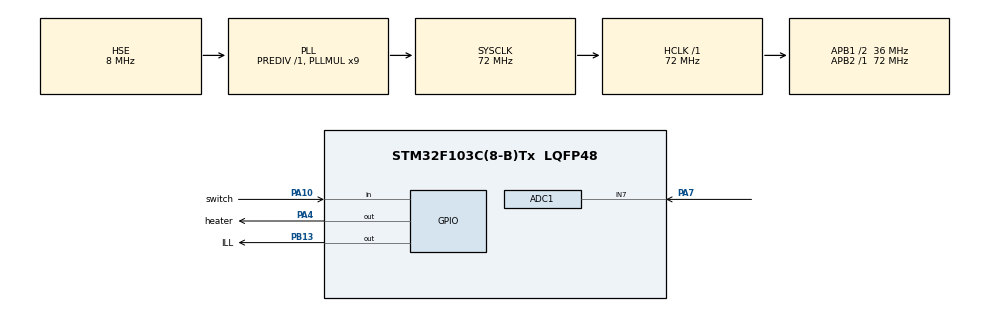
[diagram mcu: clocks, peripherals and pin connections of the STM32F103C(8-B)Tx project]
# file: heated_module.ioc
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ADC1.Channel-0\#ChannelRegularConversion=ADC_CHANNEL_7
ADC1.NbrOfConversionFlag=1
ADC1.Rank-0\#ChannelRegularConversion=1
ADC1.SamplingTime-0\#ChannelRegularConversion=ADC_SAMPLETIME_1CYCLE_5
ADC1.master=1
Mcu.Family=STM32F1
Mcu.Name=STM32F103C(8-B)Tx
Mcu.Package=LQFP48
NVIC.PriorityGroup=NVIC_PRIORITYGROUP_4
PA10.GPIO_Label=switch
PA10.Signal=GPIO_Input
PA13.Mode=Serial_Wire
PA13.Signal=SYS_JTMS-SWDIO
PA14.Mode=Serial_Wire
PA14.Signal=SYS_JTCK-SWCLK
PA4.GPIO_Label=heater
PA4.Signal=GPIO_Output
PA7.Signal=ADCx_IN7
PB13.GPIO_Label=ILL
PB13.Signal=GPIO_Output
PD0-OSC_IN.Mode=HSE-External-Oscillator
PD0-OSC_IN.Signal=RCC_OSC_IN
PD1-OSC_OUT.Mode=HSE-External-Oscillator
PD1-OSC_OUT.Signal=RCC_OSC_OUT
ProjectManager.HeapSize=0x200
ProjectManager.StackSize=0x400
ProjectManager.TargetToolchain=EWARM V8.32
RCC.ADCPresc=RCC_ADCPCLK2_DIV8
RCC.AHBFreq_Value=72000000
RCC.APB1CLKDivider=RCC_HCLK_DIV2
RCC.APB1Freq_Value=36000000
RCC.APB1TimFreq_Value=72000000
RCC.APB2Freq_Value=72000000
RCC.APB2TimFreq_Value=72000000
RCC.HCLKFreq_Value=72000000
RCC.PLLMUL=RCC_PLL_MUL9
RCC.PLLSourceVirtual=RCC_PLLSOURCE_HSE
RCC.SYSCLKFreq_VALUE=72000000
RCC.SYSCLKSource=RCC_SYSCLKSOURCE_PLLCLK
RCC.USBFreq_Value=72000000
SH.ADCx_IN7.0=ADC1_IN7,IN7
board=custom

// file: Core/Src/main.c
/* USER CODE BEGIN Header */
/**
  ******************************************************************************
  * @file           : main.c
  * @brief          : Main program body
  ******************************************************************************
  * @attention
  *
  * <h2><center>&copy; Copyright (c) 2021 STMicroelectronics.
  * All rights reserved.</center></h2>
  *
  * This software component is licensed by ST under BSD 3-Clause license,
  * the "License"; You may not use this file except in compliance with the
  * License. You may obtain a copy of the License at:
  *                        opensource.org/licenses/BSD-3-Clause
  *
  ******************************************************************************
  */
/* USER CODE END Header */
#include "main.h"
#include "adc.h"
#include "gpio.h"

/* USER CODE BEGIN Includes */
#include "math.h"
#include "ntc.h"
#include "ntcConfig.h"
/* USER CODE END Includes */

/* USER CODE BEGIN PD */
uint32_t adcResult = 0;
uint32_t Ust = 37;
uint32_t hist = 1;
uint32_t state = 0;
GPIO_PinState currentButtonState;
GPIO_PinState ill_State;

float Vsupply = 3.2; //power supply voltage (3.3 V rail) -STM32 ADC pin is NOT 5 V tolerant
float Vout; //Voltage divider output
float R_NTC; //NTC thermistor resistance in Ohms
float R_10k = 10000; //10k resistor measured resistance in Ohms (other element in the voltage divider)
float B_param = 7000; //B-coefficient of the thermistor
float T0 = 298.15; //25°C in Kelvin
float Temp_K; //Temperature measured by the thermistor (Kelvin)
float Temp_C; //Temperature measured by the thermistor (Celsius)
int TempC = 0;

/* USER CODE END PD */

void SystemClock_Config(void);

int main(void)
{

  /* MCU Configuration--------------------------------------------------------*/

  /* Reset of all peripherals, Initializes the Flash interface and the Systick. */
  HAL_Init();

  /* Configure the system clock */
  SystemClock_Config();

  /* Initialize all configured peripherals */
  MX_GPIO_Init();
  MX_ADC1_Init();

  /* Infinite loop */
  /* USER CODE BEGIN WHILE */
  while (1)
  {
    HAL_ADC_Start(&hadc1);
    HAL_ADC_PollForConversion(&hadc1, 100);
    adcResult = HAL_ADC_GetValue(&hadc1);
    HAL_ADC_Stop(&hadc1);

    Vout = adcResult * (3.2/4095);
    R_NTC = (Vout * R_10k) /(Vsupply - Vout); //calculating the resistance of the thermistor

    Temp_K = (T0*B_param)/(T0*log(R_NTC/R_10k)+B_param); //Temperature in Kelvin
    Temp_C = Temp_K - 273.15; //converting into Celsius
    TempC = (int)Temp_C;

    currentButtonState = HAL_GPIO_ReadPin(GPIOA, switch_Pin);
    ill_State = HAL_GPIO_ReadPin(GPIOB, ILL_Pin);

    switch(state){
    case 0:
      HAL_GPIO_WritePin(GPIOA, heater_Pin, GPIO_PIN_RESET); // heater off
      HAL_GPIO_WritePin(GPIOB, ILL_Pin, GPIO_PIN_RESET); // illumination off
      if (currentButtonState == GPIO_PIN_RESET){
        state = 10;
      }
      break;
    case 10:
       if (currentButtonState == GPIO_PIN_SET){
        state = 1;
      }
      break;
    case 1:
      HAL_GPIO_WritePin(GPIOB, ILL_Pin, GPIO_PIN_SET); // illumination on
      if(TempC <= (Ust - hist)){
        HAL_GPIO_WritePin(GPIOA, heater_Pin, GPIO_PIN_SET); // heater on
      }
      else if(TempC >= (Ust + hist)){
        HAL_GPIO_WritePin(GPIOA, heater_Pin, GPIO_PIN_RESET); // heater off
      }

      if(TempC >= 45){
        HAL_GPIO_WritePin(GPIOA, heater_Pin, GPIO_PIN_RESET);
        state = 0;
        HAL_GPIO_WritePin(GPIOB, ILL_Pin, GPIO_PIN_RESET);
      }
      if (currentButtonState == GPIO_PIN_RESET){
        state = 11;
      }
      break;
    case 11:
      if (currentButtonState == GPIO_PIN_SET){
        state = 0;
      }
      break;
    default:
      HAL_GPIO_WritePin(GPIOA, heater_Pin, GPIO_PIN_RESET); // heater off
      HAL_GPIO_WritePin(GPIOB, ILL_Pin, GPIO_PIN_RESET); // illumination off
      state = 0;
      break;
    }
    //TempC = 0;

    /*
    if (state == 0 && currentButtonState == GPIO_PIN_RESET){
      state = 10;
    }
    else if (state == 10 && currentButtonState == GPIO_PIN_SET){
      state = 1;
    }

    if (state == 1){
      HAL_GPIO_WritePin(GPIOB, ILL_Pin, GPIO_PIN_SET);
      if(TempC <= (Ust - hist)){
        HAL_GPIO_WritePin(GPIOA, heater_Pin, GPIO_PIN_SET);
      }
      else if(TempC >= (Ust + hist)){
        HAL_GPIO_WritePin(GPIOA, heater_Pin, GPIO_PIN_RESET);
      }
    }

    if (state == 1 && currentButtonState == GPIO_PIN_RESET){
      state = 11;
    }
    else if (state == 11 && currentButtonState == GPIO_PIN_SET){
      state = 0;
      HAL_GPIO_WritePin(GPIOA, heater_Pin, GPIO_PIN_RESET);
      HAL_GPIO_WritePin(GPIOB, ILL_Pin, GPIO_PIN_RESET);
    }
    else if (state == 0){
      HAL_GPIO_WritePin(GPIOA, heater_Pin, GPIO_PIN_RESET);
      HAL_GPIO_WritePin(GPIOB, ILL_Pin, GPIO_PIN_RESET);
    }

    if(TempC >= 45){
      HAL_GPIO_WritePin(GPIOA, heater_Pin, GPIO_PIN_RESET);
      state = 0;
      HAL_GPIO_WritePin(GPIOB, ILL_Pin, GPIO_PIN_RESET);
    }
    */

    HAL_Delay(100);
    /* USER CODE END WHILE */

  }
}

void SystemClock_Config(void)
{
  RCC_OscInitTypeDef RCC_OscInitStruct = {0};
  RCC_ClkInitTypeDef RCC_ClkInitStruct = {0};
  RCC_PeriphCLKInitTypeDef PeriphClkInit = {0};

  /** Initializes the RCC Oscillators according to the specified parameters
  * in the RCC_OscInitTypeDef structure.
  */
  RCC_OscInitStruct.OscillatorType = RCC_OSCILLATORTYPE_HSE;
  RCC_OscInitStruct.HSEState = RCC_HSE_ON;
  RCC_OscInitStruct.HSEPredivValue = RCC_HSE_PREDIV_DIV1;
  RCC_OscInitStruct.HSIState = RCC_HSI_ON;
  RCC_OscInitStruct.PLL.PLLState = RCC_PLL_ON;
  RCC_OscInitStruct.PLL.PLLSource = RCC_PLLSOURCE_HSE;
  RCC_OscInitStruct.PLL.PLLMUL = RCC_PLL_MUL9;
  if (HAL_RCC_OscConfig(&RCC_OscInitStruct) != HAL_OK)
  {
    Error_Handler();
  }
  /** Initializes the CPU, AHB and APB buses clocks
  */
  RCC_ClkInitStruct.ClockType = RCC_CLOCKTYPE_HCLK|RCC_CLOCKTYPE_SYSCLK
                              |RCC_CLOCKTYPE_PCLK1|RCC_CLOCKTYPE_PCLK2;
  RCC_ClkInitStruct.SYSCLKSource = RCC_SYSCLKSOURCE_PLLCLK;
  RCC_ClkInitStruct.AHBCLKDivider = RCC_SYSCLK_DIV1;
  RCC_ClkInitStruct.APB1CLKDivider = RCC_HCLK_DIV2;
  RCC_ClkInitStruct.APB2CLKDivider = RCC_HCLK_DIV1;

  if (HAL_RCC_ClockConfig(&RCC_ClkInitStruct, FLASH_LATENCY_2) != HAL_OK)
  {
    Error_Handler();
  }
  PeriphClkInit.PeriphClockSelection = RCC_PERIPHCLK_ADC;
  PeriphClkInit.AdcClockSelection = RCC_ADCPCLK2_DIV8;
  if (HAL_RCCEx_PeriphCLKConfig(&PeriphClkInit) != HAL_OK)
  {
    Error_Handler();
  }
}

void Error_Handler(void)
{
  __disable_irq();
  while (1)
  {
  }
}

/************************ (C) COPYRIGHT STMicroelectronics *****END OF FILE****/
